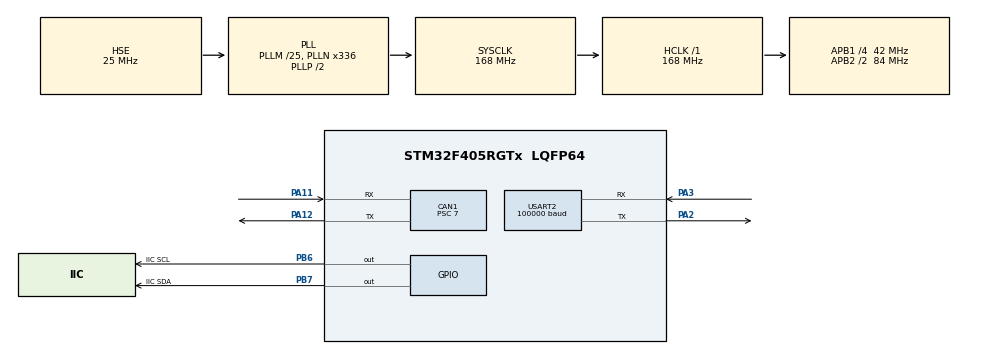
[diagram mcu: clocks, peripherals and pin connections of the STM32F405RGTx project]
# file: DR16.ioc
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CAN1.BS1=CAN_BS1_2TQ
CAN1.BS2=CAN_BS2_3TQ
CAN1.CalculateBaudRate=999999
CAN1.CalculateTimeBit=1000
CAN1.CalculateTimeQuantum=166.66666666666669
CAN1.Prescaler=7
Dma.Request0=USART2_RX
Dma.USART2_RX.0.Direction=DMA_PERIPH_TO_MEMORY
Dma.USART2_RX.0.FIFOMode=DMA_FIFOMODE_DISABLE
Dma.USART2_RX.0.Instance=DMA1_Stream5
Dma.USART2_RX.0.MemDataAlignment=DMA_MDATAALIGN_BYTE
Dma.USART2_RX.0.MemInc=DMA_MINC_ENABLE
Dma.USART2_RX.0.Mode=DMA_CIRCULAR
Dma.USART2_RX.0.PeriphDataAlignment=DMA_PDATAALIGN_BYTE
Dma.USART2_RX.0.PeriphInc=DMA_PINC_DISABLE
Dma.USART2_RX.0.Priority=DMA_PRIORITY_VERY_HIGH
FREERTOS.Tasks01=defaultTask,24,128,StartDefaultTask,Default,NULL,Dynamic,NULL,NULL;friction,8,128,vfriction,Default,NULL,Dynamic,NULL,NULL;Dial,8,128,vDial,Default,NULL,Dynamic,NULL,NULL;pitch,8,128,vpitch,Default,NULL,Dynamic,NULL,NULL
Mcu.Family=STM32F4
Mcu.Name=STM32F405RGTx
Mcu.Package=LQFP64
NVIC.CAN1_RX0_IRQn=true\:5\:0\:false\:false\:true\:true\:true\:true\:true
NVIC.DMA1_Stream5_IRQn=true\:5\:0\:false\:false\:true\:true\:false\:true\:true
NVIC.PriorityGroup=NVIC_PRIORITYGROUP_4
NVIC.TIM7_IRQn=true\:15\:0\:false\:false\:true\:false\:false\:true\:true
NVIC.TimeBase=TIM7_IRQn
NVIC.TimeBaseIP=TIM7
NVIC.USART2_IRQn=true\:5\:0\:false\:false\:true\:true\:true\:true\:true
PA11.Mode=CAN_Activate
PA11.Signal=CAN1_RX
PA12.Mode=CAN_Activate
PA12.Signal=CAN1_TX
PA13.Mode=Serial_Wire
PA13.Signal=SYS_JTMS-SWDIO
PA14.Mode=Serial_Wire
PA14.Signal=SYS_JTCK-SWCLK
PA2.Mode=Asynchronous
PA2.Signal=USART2_TX
PA3.Mode=Asynchronous
PA3.Signal=USART2_RX
PB6.GPIO_Label=IIC SCL
PB6.GPIO_ModeDefaultOutputPP=GPIO_MODE_OUTPUT_OD
PB6.GPIO_PuPd=GPIO_NOPULL
PB6.Signal=GPIO_Output
PB7.GPIO_Label=IIC SDA
PB7.GPIO_ModeDefaultOutputPP=GPIO_MODE_OUTPUT_OD
PB7.GPIO_PuPd=GPIO_NOPULL
PB7.Signal=GPIO_Output
PC14-OSC32_IN.Mode=LSE-External-Oscillator
PC14-OSC32_IN.Signal=RCC_OSC32_IN
PC15-OSC32_OUT.Mode=LSE-External-Oscillator
PC15-OSC32_OUT.Signal=RCC_OSC32_OUT
PH0-OSC_IN.Mode=HSE-External-Oscillator
PH0-OSC_IN.Signal=RCC_OSC_IN
PH1-OSC_OUT.Mode=HSE-External-Oscillator
PH1-OSC_OUT.Signal=RCC_OSC_OUT
ProjectManager.HeapSize=0x200
ProjectManager.StackSize=0x400
ProjectManager.TargetToolchain=MDK-ARM V5.32
RCC.48MHZClocksFreq_Value=84000000
RCC.AHBFreq_Value=168000000
RCC.APB1CLKDivider=RCC_HCLK_DIV4
RCC.APB1Freq_Value=42000000
RCC.APB1TimFreq_Value=84000000
RCC.APB2CLKDivider=RCC_HCLK_DIV2
RCC.APB2Freq_Value=84000000
RCC.APB2TimFreq_Value=168000000
RCC.CortexFreq_Value=168000000
RCC.HCLKFreq_Value=168000000
RCC.HSE_VALUE=25000000
RCC.HSI_VALUE=16000000
RCC.PLLM=25
RCC.PLLN=336
RCC.PLLSourceVirtual=RCC_PLLSOURCE_HSE
RCC.SYSCLKFreq_VALUE=168000000
RCC.SYSCLKSource=RCC_SYSCLKSOURCE_PLLCLK
RCC.VCOOutputFreq_Value=336000000
USART2.BaudRate=100000
USART2.Parity=PARITY_EVEN
USART2.VirtualMode=VM_ASYNC
USART2.WordLength=WORDLENGTH_8B
VP_FREERTOS_VS_CMSIS_V2.Mode=CMSIS_V2
VP_SYS_VS_tim7.Mode=TIM7
board=custom

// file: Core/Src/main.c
/* USER CODE BEGIN Header */
/**
  ******************************************************************************
  * @file           : main.c
  * @brief          : Main program body
  ******************************************************************************
  * @attention
  *
  * Copyright (c) 2024 STMicroelectronics.
  * All rights reserved.
  *
  * This software is licensed under terms that can be found in the LICENSE file
  * in the root directory of this software component.
  * If no LICENSE file comes with this software, it is provided AS-IS.
  *
  ******************************************************************************
  */
/* USER CODE END Header */
#include "main.h"
#include "cmsis_os.h"
#include "can.h"
#include "dma.h"
#include "usart.h"
#include "gpio.h"

/* USER CODE BEGIN Includes */
//#include "MPU6050.h"

/* USER CODE END Includes */

void SystemClock_Config(void);
void MX_FREERTOS_Init(void);

int main(void)
{

  /* MCU Configuration--------------------------------------------------------*/

  /* Reset of all peripherals, Initializes the Flash interface and the Systick. */
  HAL_Init();

  /* Configure the system clock */
  SystemClock_Config();

  /* Initialize all configured peripherals */
  MX_GPIO_Init();
  MX_DMA_Init();
  MX_CAN1_Init();
  MX_USART2_UART_Init();
  /* USER CODE BEGIN 2 */
  dbus_uart_init();

  /* USER CODE END 2 */

  /* Init scheduler */
  osKernelInitialize();

  /* Call init function for freertos objects (in cmsis_os2.c) */
  MX_FREERTOS_Init();

  /* Start scheduler */
  osKernelStart();

  /* We should never get here as control is now taken by the scheduler */

  /* Infinite loop */
  while (1)
  {

  }
}

void SystemClock_Config(void)
{
  RCC_OscInitTypeDef RCC_OscInitStruct = {0};
  RCC_ClkInitTypeDef RCC_ClkInitStruct = {0};

  /** Configure the main internal regulator output voltage
  */
  __HAL_RCC_PWR_CLK_ENABLE();
  __HAL_PWR_VOLTAGESCALING_CONFIG(PWR_REGULATOR_VOLTAGE_SCALE1);

  /** Initializes the RCC Oscillators according to the specified parameters
  * in the RCC_OscInitTypeDef structure.
  */
  RCC_OscInitStruct.OscillatorType = RCC_OSCILLATORTYPE_HSE;
  RCC_OscInitStruct.HSEState = RCC_HSE_ON;
  RCC_OscInitStruct.PLL.PLLState = RCC_PLL_ON;
  RCC_OscInitStruct.PLL.PLLSource = RCC_PLLSOURCE_HSE;
  RCC_OscInitStruct.PLL.PLLM = 25;
  RCC_OscInitStruct.PLL.PLLN = 336;
  RCC_OscInitStruct.PLL.PLLP = RCC_PLLP_DIV2;
  RCC_OscInitStruct.PLL.PLLQ = 4;
  if (HAL_RCC_OscConfig(&RCC_OscInitStruct) != HAL_OK)
  {
    Error_Handler();
  }

  /** Initializes the CPU, AHB and APB buses clocks
  */
  RCC_ClkInitStruct.ClockType = RCC_CLOCKTYPE_HCLK|RCC_CLOCKTYPE_SYSCLK
                              |RCC_CLOCKTYPE_PCLK1|RCC_CLOCKTYPE_PCLK2;
  RCC_ClkInitStruct.SYSCLKSource = RCC_SYSCLKSOURCE_PLLCLK;
  RCC_ClkInitStruct.AHBCLKDivider = RCC_SYSCLK_DIV1;
  RCC_ClkInitStruct.APB1CLKDivider = RCC_HCLK_DIV4;
  RCC_ClkInitStruct.APB2CLKDivider = RCC_HCLK_DIV2;

  if (HAL_RCC_ClockConfig(&RCC_ClkInitStruct, FLASH_LATENCY_5) != HAL_OK)
  {
    Error_Handler();
  }
}

void HAL_TIM_PeriodElapsedCallback(TIM_HandleTypeDef *htim)
{
  if (htim->Instance == TIM7) {
    HAL_IncTick();
  }
}

void Error_Handler(void)
{
  __disable_irq();
  while (1)
  {
  }
}

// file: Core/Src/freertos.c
/* USER CODE BEGIN Header */
/**
  ******************************************************************************
  * File Name          : freertos.c
  * Description        : Code for freertos applications
  ******************************************************************************
  * @attention
  *
  * Copyright (c) 2024 STMicroelectronics.
  * All rights reserved.
  *
  * This software is licensed under terms that can be found in the LICENSE file
  * in the root directory of this software component.
  * If no LICENSE file comes with this software, it is provided AS-IS.
  *
  ******************************************************************************
  */
/* USER CODE END Header */

#include "FreeRTOS.h"
#include "task.h"
#include "main.h"
#include "cmsis_os.h"

/* USER CODE BEGIN Includes */
#include "can.h"
#include "pid.h"
#include "usart.h"
//#include <stdio.h>
//#include "MPU6050.h"

pid_struct_t motor_pid_Single;//定义摩擦轮pid结构�?
float speedTarget = 0;//摩擦轮使�?

pid_Cascade_t motor_pid_Cas;//定义串级pid结构体用于拨盘电�?
float angleTarget = 0;//拨盘电机使用

float Rotor_angle;//拨盘电机多圈角度

uint8_t singleflag = 0;//拨盘电机单发标志

float pitch;
float roll;
float yaw;
int16_t gx,gy,gz,ax,ay,az;

pid_Cascade_t motor_pid_Cas2;//定义串级pid结构体用于pitch电机
float angleTarget2 = 0;//pitch电机使用
float Rotor_angle2;//pitch电机当前角度
uint8_t pitchflag = 0;

/* USER CODE END Includes */

/* Definitions for defaultTask */
osThreadId_t defaultTaskHandle;
const osThreadAttr_t defaultTask_attributes = {
  .name = "defaultTask",
  .stack_size = 128 * 4,
  .priority = (osPriority_t) osPriorityNormal,
};
/* Definitions for friction */
osThreadId_t frictionHandle;
const osThreadAttr_t friction_attributes = {
  .name = "friction",
  .stack_size = 128 * 4,
  .priority = (osPriority_t) osPriorityLow,
};
/* Definitions for Dial */
osThreadId_t DialHandle;
const osThreadAttr_t Dial_attributes = {
  .name = "Dial",
  .stack_size = 128 * 4,
  .priority = (osPriority_t) osPriorityLow,
};
/* Definitions for pitch */
osThreadId_t pitchHandle;
const osThreadAttr_t pitch_attributes = {
  .name = "pitch",
  .stack_size = 128 * 4,
  .priority = (osPriority_t) osPriorityLow,
};

void StartDefaultTask(void *argument);
void vfriction(void *argument);
void vDial(void *argument);
void vpitch(void *argument);

void MX_FREERTOS_Init(void); /* (MISRA C 2004 rule 8.1) */

void MX_FREERTOS_Init(void) {

  /* Create the thread(s) */
  /* creation of defaultTask */
  defaultTaskHandle = osThreadNew(StartDefaultTask, NULL, &defaultTask_attributes);

  /* creation of friction */
  frictionHandle = osThreadNew(vfriction, NULL, &friction_attributes);

  /* creation of Dial */
  DialHandle = osThreadNew(vDial, NULL, &Dial_attributes);

  /* creation of pitch */
  pitchHandle = osThreadNew(vpitch, NULL, &pitch_attributes);

}

void StartDefaultTask(void *argument)
{
  /* USER CODE BEGIN StartDefaultTask */
  InitializeRemoteControl(&g_RemoteControlState); //初始化遥控器状�?�并创建对应定时�?
  Configure_Filter();
  /* Infinite loop */
  for(;;)
  {
    vTaskDelete(NULL);
  }
  /* USER CODE END StartDefaultTask */
}

void vfriction(void *argument)
{
  /* USER CODE BEGIN vfriction */
//    Configure_Filter();//在默认任务中配置过滤�?
    pid_init(&motor_pid_Single,40,3,0,500,25000);
  /* Infinite loop */
  for(;;)
  {
      int16_t set_voltage1 = pid_calc(&motor_pid_Single, speedTarget, motor_info1.rotor_speed);//右摩擦轮
      int16_t set_voltage2 = pid_calc(&motor_pid_Single, speedTarget, motor_info2.rotor_speed);//左摩擦轮

      if(g_RemoteControlState.isRemoteActive==false)
    {
        CAN_Transmit_1(0);
        CAN_Transmit_2(0);
    }
    else
    {
        CAN_Transmit_1(set_voltage1);
        CAN_Transmit_2(set_voltage2);
    }

    if(rc.ch0>100)
    {
        speedTarget = 6000;
    }
    else
    {
        speedTarget = 0;
    }

    vTaskDelay(1);
  }
  /* USER CODE END vfriction */
}

void vDial(void *argument)
{
  /* USER CODE BEGIN vDial */
    pid_init(&motor_pid_Cas.inner, 20, 3, 0, 500, 16384);
    pid_init(&motor_pid_Cas.outer, 30, 1, 0, 500, 20000);
    motor_info3.c_Init = 0;
    motor_info3.round_cnt = 0;

    TickType_t xLastWakeTime;
    const TickType_t xFrequency = 50;//使拨盘单机的频率�?20Hz，即1发等50ms
    xLastWakeTime = xTaskGetTickCount();

  /* Infinite loop */
  for(;;)
  {
    Rotor_angle = (motor_info3.total_encoder *360)/8192/36;//将编码器刻度换成角度
    int16_t set_current = pid_CascadeCalc(&motor_pid_Cas,angleTarget,Rotor_angle,motor_info3.rotor_speed);
    if(g_RemoteControlState.isRemoteActive==false)
    {
        CAN_Transmit_3(0);
    }
    else
    {
        CAN_Transmit_3(set_current);
    }

    //连发
    if(rc.sw2 == 1)
    {
        if(rc.ch1 >= 400)
        {
            angleTarget = angleTarget+40;
            vTaskDelayUntil( &xLastWakeTime, xFrequency );
        }
        else
        {
            angleTarget = angleTarget;
        }
    }
    //单发
    else if(rc.sw2 == 2)
    {
        if(rc.sw1 == 2)
        singleflag = 0;

        if(rc.sw1 == 1 && singleflag == 0)
        {
            angleTarget = angleTarget+40;
            singleflag = 1;//将单发标志位�?1，使其无法发�?
        }
    }

    vTaskDelay(1);
  }
  /* USER CODE END vDial */
}

void vpitch(void *argument)
{
  /* USER CODE BEGIN vpitch */
//    pid_init(&motor_pid_Cas2.inner, 40, 0, 0, 500, 25000);
//    pid_init(&motor_pid_Cas2.outer, 5, 0, 0, 500, 10000);
//    motor_info4.c_Init = 0;
//    motor_info4.round_cnt = 0;

//    uint8_t init = MPU_Init();

  /* Infinite loop */
  for(;;)
  {
      if(1)
    {
//        MPU_Get_Gyroscope(&gx,&gy,&gz);
//        MPU_Get_Accelerometer(&ax,&ay,&az);

//        Rotor_angle2 = (motor_info4.rotor_angle *360.0)/8192.0;
//        int16_t set_voltage3 = pid_CascadeCalc(&motor_pid_Cas2,angleTarget2,Rotor_angle2,motor_info4.rotor_speed);

//        if(g_RemoteControlState.isRemoteActive==false)
//        {
//            CAN_Transmit_4(0);
//        }
//        else
//        {
//            CAN_Transmit_4(set_voltage3);
//        }

//        if((rc.ch2 >= 400) && (pitchflag == 0)&&(motor_info4.rotor_angle <= 2445))
//        {
//            angleTarget2 = angleTarget2+30;
//            pitchflag = 1;
//        }
//        else if((rc.ch2 <= -400) && (pitchflag == 0)&&(motor_info4.rotor_angle >= 1385))
//        {
//            angleTarget2 = angleTarget2-30;
//            pitchflag = 1;
//        }
//        else
//        {
//            pitchflag = 0;
//        }
//
//    }

    vTaskDelay(1);
  }
  /* USER CODE END vpitch */
}
